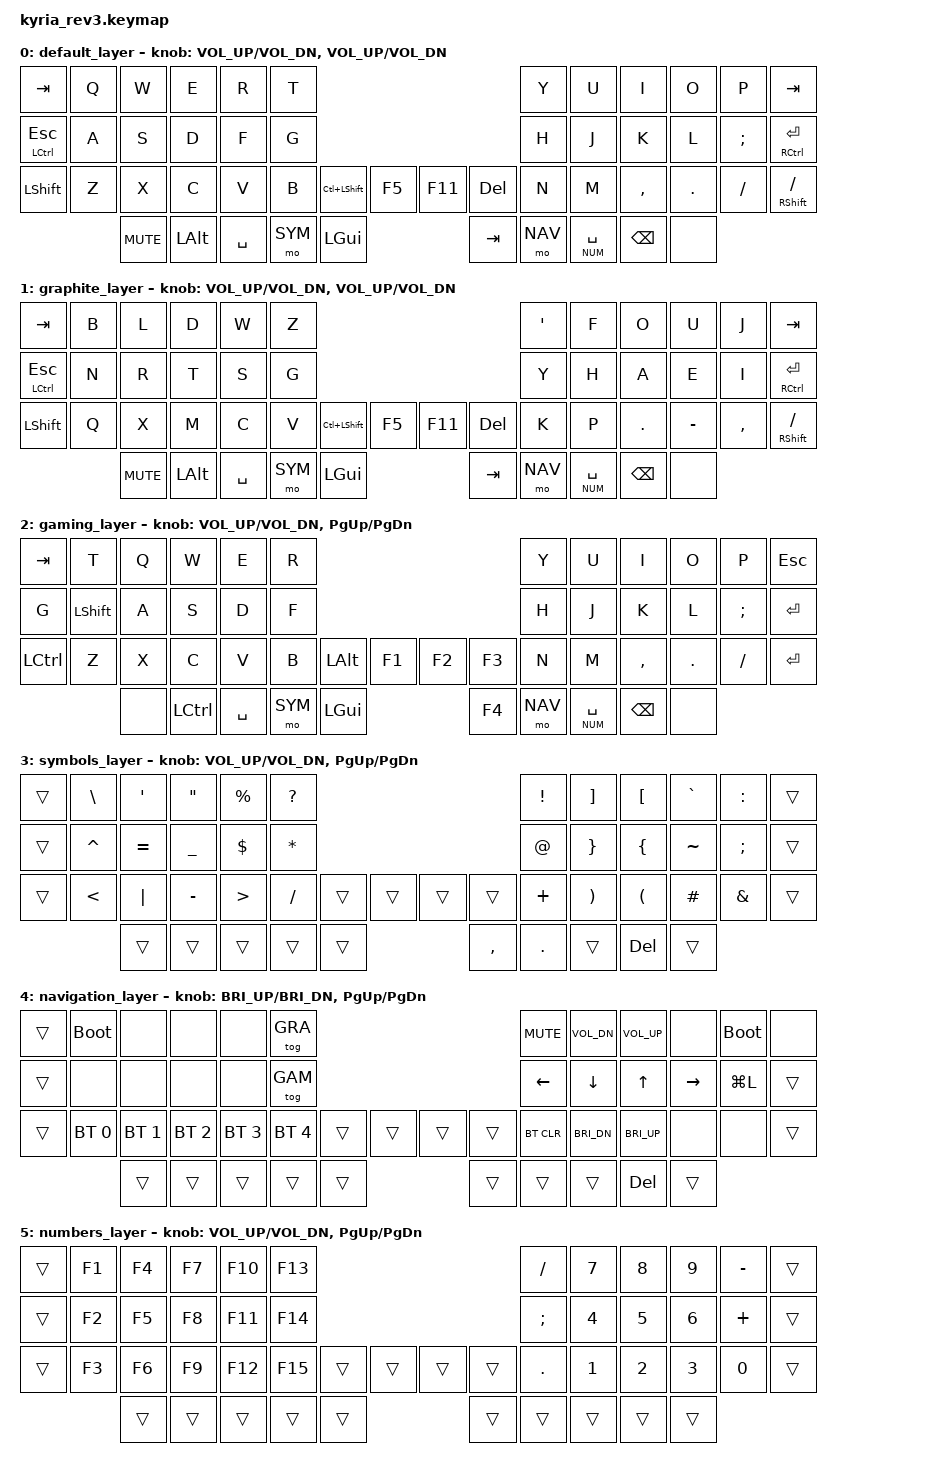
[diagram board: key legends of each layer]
/*
 * Copyright (c) 2023 The ZMK Contributors
 *
 * SPDX-License-Identifier: MIT
 */

#include <behaviors.dtsi>
#include <dt-bindings/zmk/bt.h>
#include <dt-bindings/zmk/keys.h>

&mt {
    tapping-term-ms = <200>;
};

&lt {
    tapping-term-ms = <200>;
};

/ {
    combos {
        compatible = "zmk,combos";
        combo_caps-word {
            timeout-ms = <50>;
            key-positions = <24 39>;
            layers = <0>;
            bindings = <&caps_word>;
        };
    };
};

#define QWE 0
#define GRA 1
#define GAM 2
#define SYM 3
#define NAV 4
#define NUM 5

/ {
    keymap {
        compatible = "zmk,keymap";

        default_layer {
            bindings = <
            &kp TAB       &kp Q &kp W &kp E &kp R &kp T                                             &kp Y &kp U  &kp I     &kp O   &kp P    &kp TAB
            &mt LCTRL ESC &kp A &kp S &kp D &kp F &kp G                                             &kp H &kp J  &kp K     &kp L   &kp SEMI &mt RCTRL ENTER
            &kp LSHFT     &kp Z &kp X &kp C &kp V &kp B &kp LC(LSHFT) &kp F5        &kp F11 &kp DEL &kp N &kp M  &kp COMMA &kp DOT &kp FSLH &mt RSHFT FSLH
                                &kp C_MUTE &kp LALT &kp SPACE &mo SYM &kp LGUI      &kp TAB &mo NAV &lt NUM SPACE &kp BSPC &none
            >;

           sensor-bindings = <&inc_dec_kp C_VOL_UP C_VOL_DN &inc_dec_kp C_VOL_UP C_VOL_DN>;
        };

        graphite_layer {
            bindings = <
            &kp TAB       &kp B &kp L &kp D &kp W &kp Z                                             &kp SQT &kp F &kp O   &kp U     &kp J     &kp TAB
            &mt LCTRL ESC &kp N &kp R &kp T &kp S &kp G                                             &kp Y   &kp H &kp A   &kp E     &kp I     &mt RCTRL ENTER
            &kp LSHFT     &kp Q &kp X &kp M &kp C &kp V &kp LC(LSHFT) &kp F5        &kp F11 &kp DEL &kp K   &kp P &kp DOT &kp MINUS &kp COMMA &mt RSHFT FSLH
                                &kp C_MUTE &kp LALT &kp SPACE &mo SYM &kp LGUI      &kp TAB &mo NAV &lt NUM SPACE &kp BSPC &none
            >;

           sensor-bindings = <&inc_dec_kp C_VOL_UP C_VOL_DN &inc_dec_kp C_VOL_UP C_VOL_DN>;
        };

        gaming_layer {
            bindings = <
            &kp TAB   &kp T     &kp Q &kp W &kp E &kp R                                 &kp Y &kp U  &kp I     &kp O   &kp P    &kp ESC
            &kp G     &kp LSHFT &kp A &kp S &kp D &kp F                                 &kp H &kp J  &kp K     &kp L   &kp SEMI &kp ENTER
            &kp LCTRL &kp Z     &kp X &kp C &kp V &kp B &kp LALT &kp F1   &kp F2 &kp F3 &kp N &kp M  &kp COMMA &kp DOT &kp FSLH &kp ENTER
                         &none &kp LCTRL &kp SPACE &mo SYM  &kp LGUI      &kp F4 &mo NAV &lt NUM SPACE &kp BSPC &none
            >;

            sensor-bindings = <&inc_dec_kp C_VOL_UP C_VOL_DN &inc_dec_kp PG_UP PG_DN>;
        };

        symbols_layer {
            bindings = <
            &trans &kp BSLH  &kp SQT   &kp DQT   &kp PRCNT  &kp QMARK                                    &kp EXCL &kp RBKT &kp LBKT &kp GRAVE &kp COLON &trans
            &trans &kp CARET &kp EQUAL &kp UNDER &kp DOLLAR &kp ASTRK                                    &kp AT   &kp RBRC &kp LBRC &kp TILDE &kp SEMI  &trans
            &trans &kp LT    &kp PIPE  &kp MINUS &kp GT     &kp FSLH  &trans &trans    &trans    &trans  &kp PLUS &kp RPAR &kp LPAR &kp HASH  &kp AMPS  &trans
                                       &trans    &trans     &trans    &trans &trans    &kp COMMA &kp DOT &trans &kp DEL &trans
            >;

            sensor-bindings = <&inc_dec_kp C_VOL_UP C_VOL_DN &inc_dec_kp PG_UP PG_DN>;
        };

        navigation_layer {
            bindings = <
            &trans &bootloader  &none        &none        &none        &tog GRA                                        &kp C_MUTE &kp C_VOL_DN &kp C_VOL_UP &none     &bootloader &none
            &trans &none        &none        &none        &none        &tog GAM                                        &kp LEFT   &kp DOWN     &kp UP       &kp RIGHT &kp LG(L)   &trans
            &trans &bt BT_SEL 0 &bt BT_SEL 1 &bt BT_SEL 2 &bt BT_SEL 3 &bt BT_SEL 4 &trans &trans        &trans &trans &bt BT_CLR &kp C_BRI_DN &kp C_BRI_UP &none     &none       &trans
                                                               &trans &trans &trans &trans &trans        &trans &trans &trans &kp DEL &trans
            >;

            sensor-bindings = <&inc_dec_kp C_BRI_UP C_BRI_DN &inc_dec_kp PG_UP PG_DN>;
        };

        numbers_layer {
            bindings = <
            &trans &kp F1 &kp F4 &kp F7 &kp F10 &kp F13                                     &kp FSLH &kp N7 &kp N8 &kp N9 &kp MINUS &trans
            &trans &kp F2 &kp F5 &kp F8 &kp F11 &kp F14                                     &kp SEMI &kp N4 &kp N5 &kp N6 &kp PLUS  &trans
            &trans &kp F3 &kp F6 &kp F9 &kp F12 &kp F15 &trans &trans         &trans &trans &kp DOT  &kp N1 &kp N2 &kp N3 &kp N0    &trans
                                   &trans &trans &trans &trans &trans         &trans &trans &trans &trans &trans
            >;

           sensor-bindings = <&inc_dec_kp C_VOL_UP C_VOL_DN &inc_dec_kp PG_UP PG_DN>;
        };

        // example_layer {
        //     bindings = <
        //     &trans &trans &trans &trans &trans &trans                                    &trans &trans &trans &trans &trans &trans
        //     &trans &trans &trans &trans &trans &trans                                    &trans &trans &trans &trans &trans &trans
        //     &trans &trans &trans &trans &trans &trans &trans &trans        &trans &trans &trans &trans &trans &trans &trans &trans
        //                          &trans &trans &trans &trans &trans        &trans &trans &trans &trans &trans
        //     >;

        //     sensor-bindings = <&inc_dec_kp C_VOL_UP C_VOL_DN &inc_dec_kp PG_UP PG_DN>;
        // };
    };
};
